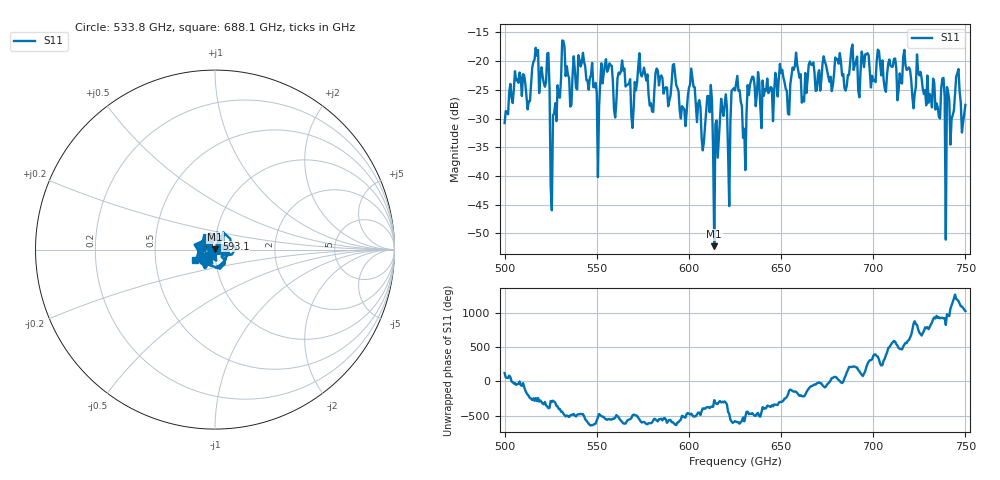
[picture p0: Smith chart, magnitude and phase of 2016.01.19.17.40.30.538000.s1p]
!Created with skrf (http://scikit-rf.org).
# GHz S RI R 50.0
!freq ReS11 ImS11
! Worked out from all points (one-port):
!   401 points, 500 GHz to 750 GHz, reference 50 ohm
!   lowest |S11| = -52.2 dB at 613.8 GHz (marker M1), VSWR 1.00, Z = 50 + j0.245 ohm
!   |S11| at or under -10 dB: start of sweep to end of sweep
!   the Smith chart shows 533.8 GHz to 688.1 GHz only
!   S11 on the Smith chart (normalised r, x): 533.8 GHz: 0.87, -0.11; 593.1 GHz: 1.01, +0.12; 688.1 GHz: 0.79, -0.09
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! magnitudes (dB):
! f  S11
! 500 GHz  -30.8
! 516.9 GHz  -17.7
! 523.1 GHz  -18.7
! 526.2 GHz  -29.5
! 531.2 GHz  -16.4
! 533.8 GHz  -20.9
! 550 GHz  -25.5
! 562.5 GHz  -22.3
! 570 GHz  -28.2
! 593.1 GHz  -24.2
! 593.8 GHz  -24.7
! 601.9 GHz  -22.8
! 608.1 GHz  -34.1
! 611.2 GHz  -28.9
! 613.8 GHz  -52.2
! 618.8 GHz  -29.5
! 621.9 GHz  -45.2
! 625 GHz  -25.1
! 630 GHz  -31.8
! 634.4 GHz  -22.7
! 656.2 GHz  -21.1
! 687.5 GHz  -20.3
! 688.1 GHz  -17.9
! 718.8 GHz  -21.4
! 737.5 GHz  -23.0
! 740.6 GHz  -25.4
! 745.6 GHz  -22.1
! 750 GHz  -27.6
